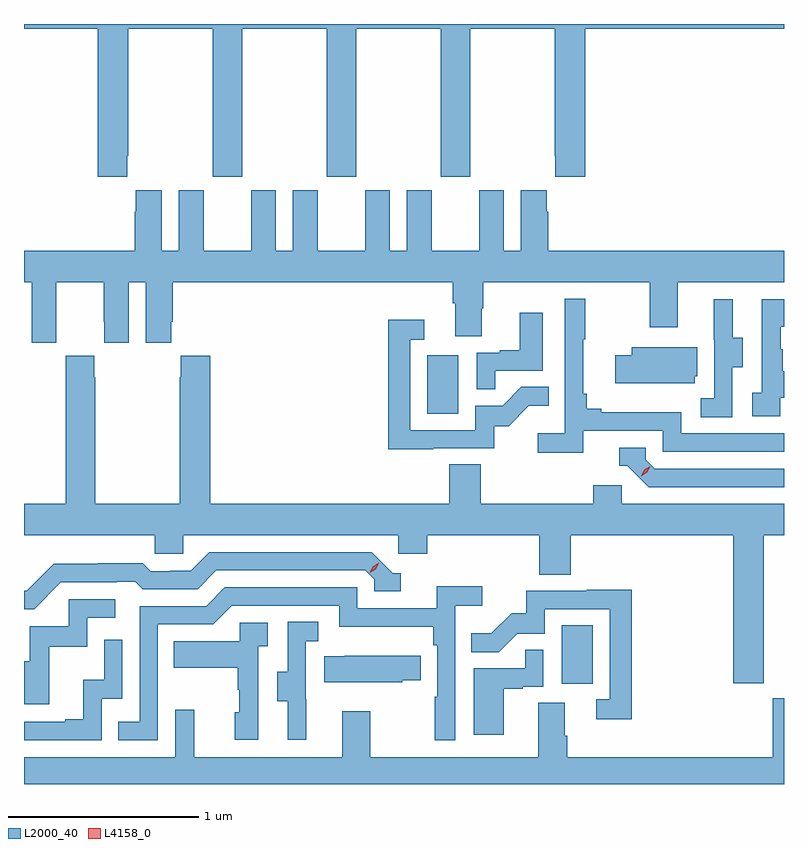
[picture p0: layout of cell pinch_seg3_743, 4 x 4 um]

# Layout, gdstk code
import gdstk
lib = gdstk.Library(unit=1e-6, precision=1e-09)
def R(c, l, rs):  # rectangles x0, y0, x1, y1
    for r in rs: c.add(gdstk.rectangle(r[:2], r[2:], *l))
def P(c, l, *ps):  # polygons
    for p in ps: c.add(gdstk.Polygon(p, *l))
L2000_40 = (2000, 40)
L4158_0 = (4158, 0)

pinch_seg3_743 = lib.new_cell('pinch_seg3_743')
R(pinch_seg3_743, L2000_40, [(845.126,737.43,845.29,737.737), (844.418,738.852,844.582,739.159)])
P(pinch_seg3_743, L2000_40, [(842.839,740.209),(842.844,740.209),(842.844,740.876),(843.289,740.876),(843.289,740.097),(843.444,740.097),(843.444,740.876),(843.889,740.876),(843.889,740.097),(844.044,740.097),(844.044,740.876),(844.489,740.876),(844.489,740.097),(844.644,740.097),(844.644,740.876),(845.089,740.876),(845.089,740.209),(845.093,740.209),(845.093,740.097),(845.249,740.097),(845.249,740.876),(846.296,740.876),(846.296,740.902),(842.296,740.902),(842.296,740.876),(842.684,740.876),(842.684,740.097),(842.839,740.097)],
  [(842.466,739.336),(842.467,739.336),(842.467,739.544),(842.717,739.544),(842.717,739.336),(842.718,739.336),(842.718,739.224),(842.848,739.224),(842.848,739.544),(842.936,739.544),(842.936,739.224),(843.07,739.224),(843.07,739.336),(843.08,739.336),(843.08,739.544),(844.553,739.544),(844.553,739.432),(844.565,739.432),(844.565,739.258),(844.705,739.258),(844.705,739.407),(844.713,739.407),(844.713,739.544),(845.59,739.544),(845.59,739.305),(845.737,739.305),(845.737,739.544),(846.296,739.544),(846.296,739.708),(845.054,739.708),(845.054,739.913),(845.047,739.913),(845.047,740.026),(844.91,740.026),(844.91,739.708),(844.822,739.708),(844.822,740.026),(844.691,740.026),(844.691,739.708),(844.441,739.708),(844.441,740.026),(844.31,740.026),(844.31,739.708),(844.222,739.708),(844.222,740.026),(844.091,740.026),(844.091,739.708),(843.841,739.708),(843.841,740.026),(843.71,740.026),(843.71,739.708),(843.622,739.708),(843.622,740.026),(843.491,740.026),(843.491,739.708),(843.241,739.708),(843.241,740.026),(843.11,740.026),(843.11,739.708),(843.022,739.708),(843.022,740.026),(842.885,740.026),(842.885,739.913),(842.879,739.913),(842.879,739.708),(842.296,739.708),(842.296,739.544),(842.336,739.544),(842.336,739.224),(842.466,739.224)],
  [(845.24,738.762),(845.658,738.762),(845.658,738.651),(846.296,738.651),(846.296,738.747),(845.754,738.747),(845.754,738.859),(845.335,738.859),(845.335,738.878),(845.258,738.878),(845.258,738.955),(845.239,738.955),(845.239,739.243),(845.251,739.243),(845.251,739.456),(845.142,739.456),(845.142,738.748),(845.001,738.748),(845.001,738.646),(845.24,738.646)],
  [(846.024,739.096),(846.079,739.096),(846.079,739.251),(846.025,739.251),(846.025,739.453),(845.927,739.453),(845.927,739.239),(845.928,739.239),(845.928,738.933),(845.859,738.933),(845.859,738.832),(846.024,738.832)],
  [(846.276,738.935),(846.296,738.935),(846.296,739.075),(846.289,739.075),(846.289,739.19),(846.279,739.19),(846.279,739.308),(846.296,739.308),(846.296,739.453),(846.18,739.453),(846.18,738.962),(846.129,738.962),(846.129,738.837),(846.276,738.837)],
  [(844.775,739.077),(845.026,739.077),(845.026,739.381),(844.904,739.381),(844.904,739.186),(844.801,739.186),(844.801,739.173),(844.68,739.173),(844.68,738.979),(844.775,738.979)],
  [(844.451,738.669),(844.77,738.669),(844.77,738.786),(844.846,738.786),(844.953,738.893),(845.057,738.893),(845.057,738.992),(844.914,738.992),(844.816,738.894),(844.671,738.894),(844.671,738.765),(844.329,738.765),(844.329,739.239),(844.402,739.239),(844.402,739.345),(844.213,739.345),(844.213,738.664),(844.451,738.664)],
  [(845.723,739.011),(845.827,739.011),(845.827,739.047),(845.839,739.047),(845.839,739.201),(845.495,739.201),(845.495,739.158),(845.409,739.158),(845.409,739.01),(845.723,739.01)],
  [(846.189,738.212),(846.296,738.212),(846.296,738.376),(845.442,738.376),(845.442,738.474),(845.291,738.474),(845.291,738.376),(844.7,738.376),(844.7,738.584),(844.535,738.584),(844.535,738.376),(843.275,738.376),(843.275,739.156),(843.121,739.156),(843.121,739.043),(843.115,739.043),(843.115,738.376),(842.67,738.376),(842.67,739.043),(842.667,739.043),(842.667,739.156),(842.517,739.156),(842.517,739.043),(842.515,739.043),(842.515,738.376),(842.296,738.376),(842.296,738.212),(842.985,738.212),(842.985,738.114),(843.135,738.114),(843.135,738.212),(844.266,738.212),(844.266,738.114),(844.418,738.114),(844.418,738.212),(845.009,738.212),(845.009,738.004),(845.174,738.004),(845.174,738.212),(846.029,738.212),(846.029,737.433),(846.189,737.433)],
  [(846.296,738.561),(845.616,738.561),(845.568,738.609),(845.568,738.672),(845.429,738.672),(845.429,738.576),(845.472,738.576),(845.583,738.465),(846.296,738.465)],
  [(842.49,737.964),(842.783,737.964),(842.783,737.967),(842.882,737.967),(842.921,737.928),(843.21,737.928),(843.309,738.027),(844.092,738.027),(844.14,737.979),(844.14,737.916),(844.279,737.916),(844.279,738.012),(844.236,738.012),(844.125,738.123),(843.272,738.123),(843.173,738.024),(843.066,738.024),(843.066,738.021),(842.963,738.021),(842.921,738.064),(842.688,738.064),(842.688,738.061),(842.452,738.061),(842.31,737.919),(842.296,737.919),(842.296,737.823),(842.349,737.823)],
  [(843,737.742),(843.291,737.742),(843.39,737.841),(843.954,737.841),(843.954,737.729),(844.45,737.729),(844.45,737.633),(844.47,737.633),(844.47,737.36),(844.458,737.36),(844.458,737.133),(844.566,737.133),(844.566,737.84),(844.708,737.84),(844.708,737.942),(844.469,737.942),(844.469,737.826),(844.05,737.826),(844.05,737.937),(843.353,737.937),(843.254,737.838),(842.904,737.838),(842.904,737.229),(842.791,737.229),(842.791,737.133),(843,737.133)],
  [(845.495,737.924),(845.257,737.924),(845.257,737.919),(844.939,737.919),(844.939,737.802),(844.862,737.802),(844.755,737.695),(844.651,737.695),(844.651,737.596),(844.795,737.596),(844.893,737.694),(845.037,737.694),(845.037,737.823),(845.379,737.823),(845.379,737.349),(845.307,737.349),(845.307,737.244),(845.495,737.244)],
  [(842.429,737.625),(842.628,737.625),(842.628,737.778),(842.776,737.778),(842.776,737.874),(842.532,737.874),(842.532,737.733),(842.327,737.733),(842.327,737.547),(842.296,737.547),(842.296,737.322),(842.429,737.322)],
  [(843.782,737.349),(843.78,737.349),(843.78,737.653),(843.844,737.653),(843.844,737.756),(843.684,737.756),(843.684,737.493),(843.629,737.493),(843.629,737.338),(843.683,737.338),(843.683,737.136),(843.782,737.136)],
  [(843.528,737.627),(843.58,737.627),(843.58,737.751),(843.432,737.751),(843.432,737.653),(843.085,737.653),(843.085,737.513),(843.42,737.513),(843.42,737.399),(843.43,737.399),(843.43,737.28),(843.404,737.28),(843.404,737.136),(843.528,737.136)],
  [(842.706,737.352),(842.814,737.352),(842.814,737.662),(842.718,737.662),(842.718,737.45),(842.609,737.45),(842.609,737.242),(842.513,737.242),(842.513,737.229),(842.296,737.229),(842.296,737.133),(842.706,737.133)],
  [(844.822,737.403),(844.922,737.403),(844.922,737.415),(845.028,737.415),(845.028,737.609),(844.933,737.609),(844.933,737.511),(844.664,737.511),(844.664,737.16),(844.822,737.16)],
  [(844.287,737.449),(844.385,737.449),(844.385,737.578),(843.985,737.578),(843.985,737.575),(843.877,737.575),(843.877,737.438),(844.287,737.438)],
  [(846.296,737.353),(846.236,737.353),(846.236,737.044),(845.156,737.044),(845.156,737.156),(845.143,737.156),(845.143,737.33),(845.003,737.33),(845.003,737.044),(844.119,737.044),(844.119,737.284),(843.971,737.284),(843.971,737.044),(843.191,737.044),(843.191,737.293),(843.093,737.293),(843.093,737.044),(842.296,737.044),(842.296,736.902),(846.296,736.902)])
P(pinch_seg3_743, L4158_0, [(844.115,738.013),(844.115,738.013),(844.131,738.046),(844.162,738.066),(844.162,738.066),(844.162,738.066),(844.146,738.033),(844.116,738.013)],
  [(845.544,738.523),(845.544,738.523),(845.561,738.556),(845.592,738.575),(845.592,738.575),(845.592,738.575),(845.576,738.542),(845.545,738.523)])

lib.write_gds('pinch_seg3_743.gds')
